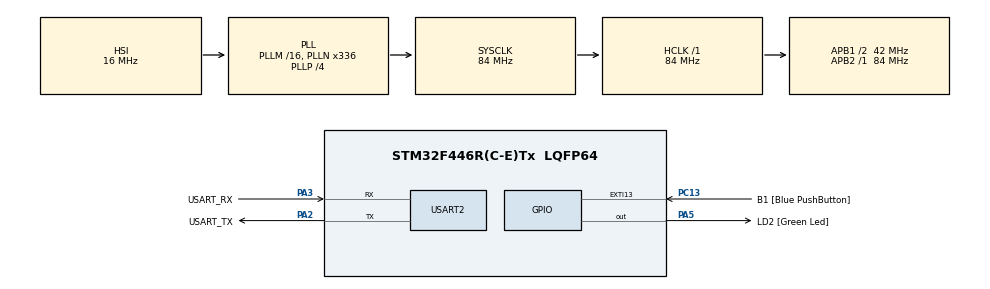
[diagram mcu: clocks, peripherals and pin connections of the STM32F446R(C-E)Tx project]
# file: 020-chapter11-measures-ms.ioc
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Mcu.Family=STM32F4
Mcu.Name=STM32F446R(C-E)Tx
Mcu.Package=LQFP64
NVIC.PriorityGroup=NVIC_PRIORITYGROUP_0
PA13.GPIO_Label=TMS
PA13.Mode=Serial_Wire
PA13.Signal=SYS_JTMS-SWDIO
PA14.GPIO_Label=TCK
PA14.Mode=Serial_Wire
PA14.Signal=SYS_JTCK-SWCLK
PA2.GPIO_Label=USART_TX
PA2.Mode=Asynchronous
PA2.Signal=USART2_TX
PA3.GPIO_Label=USART_RX
PA3.Mode=Asynchronous
PA3.Signal=USART2_RX
PA5.GPIO_Label=LD2 [Green Led]
PA5.Signal=GPIO_Output
PB3.GPIO_Label=SWO
PB3.Signal=SYS_JTDO-SWO
PC13.GPIO_Label=B1 [Blue PushButton]
PC13.GPIO_ModeDefaultEXTI=GPIO_MODE_IT_FALLING
PC13.Signal=GPXTI13
PC14-OSC32_IN.Mode=LSE-External-Oscillator
PC14-OSC32_IN.Signal=RCC_OSC32_IN
PC15-OSC32_OUT.Mode=LSE-External-Oscillator
PC15-OSC32_OUT.Signal=RCC_OSC32_OUT
PH0-OSC_IN.Mode=HSE-External-Oscillator
PH0-OSC_IN.Signal=RCC_OSC_IN
PH1-OSC_OUT.Mode=HSE-External-Oscillator
PH1-OSC_OUT.Signal=RCC_OSC_OUT
ProjectManager.HeapSize=0x200
ProjectManager.StackSize=0x400
ProjectManager.TargetToolchain=STM32CubeIDE
RCC.48MHZClocksFreq_Value=84000000
RCC.AHBFreq_Value=84000000
RCC.APB1CLKDivider=RCC_HCLK_DIV2
RCC.APB1Freq_Value=42000000
RCC.APB1TimFreq_Value=84000000
RCC.APB2Freq_Value=84000000
RCC.APB2TimFreq_Value=84000000
RCC.CortexFreq_Value=84000000
RCC.FLatency-AdvancedSettings=FLASH_LATENCY_2
RCC.HCLKFreq_Value=84000000
RCC.HSE_VALUE=8000000
RCC.HSI_VALUE=16000000
RCC.PLLN=336
RCC.PLLP=RCC_PLLP_DIV4
RCC.SYSCLKFreq_VALUE=84000000
RCC.SYSCLKSource=RCC_SYSCLKSOURCE_PLLCLK
RCC.USBFreq_Value=168000000
RCC.VCOOutputFreq_Value=336000000
USART2.VirtualMode=VM_ASYNC
board=NUCLEO-F446RE

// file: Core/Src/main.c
/* USER CODE BEGIN Header */
/**
 ******************************************************************************
 * @file           : main.c
 * @brief          : Precisely Measure Microseconds
 ******************************************************************************
 * @attention
 *
 * Copyright (c) 2023 STMicroelectronics.
 * All rights reserved.
 *
 * This software is licensed under terms that can be found in the LICENSE file
 * in the root directory of this software component.
 * If no LICENSE file comes with this software, it is provided AS-IS.
 *
 ******************************************************************************
 */
/* USER CODE END Header */
#include "main.h"

/* USER CODE BEGIN PD */
/**
 * this macro has to be rearranged if your processor speed
 * is lower, and keep in mind that being a macro,
 * it is “expanded” every time you use it,
 * causing the increase of firmware size.
 */
#define delayUS_ASM(us)                 \
  do                                    \
  {                                     \
    asm volatile("MOV R0,%[loops]\n     \
		1: \n                           \
		SUB R0, #1\n                    \
		CMP R0, #0\n                    \
		BNE 1b \t"                      \
                 :                      \
                 : [loops] "r"(16 * us) \
                 : "memory");           \
  } while (0)
/* USER CODE END PD */

UART_HandleTypeDef huart2;

void SystemClock_Config(void);
static void MX_GPIO_Init(void);
static void MX_USART2_UART_Init(void);
/* USER CODE BEGIN PFP */
#pragma GCC push_options
#pragma GCC optimize("O0")
void delayUS(uint32_t us);
#pragma GCC pop_options

#pragma GCC push_options
#pragma GCC optimize("O3")
void delayUS_DWT(uint32_t us);
#pragma GCC pop_options
/* USER CODE END PFP */

int main(void)
{

  /* MCU Configuration--------------------------------------------------------*/

  /* Reset of all peripherals, Initializes the Flash interface and the Systick. */
  HAL_Init();

  /* Configure the system clock */
  SystemClock_Config();

  /* Initialize all configured peripherals */
  MX_GPIO_Init();
  MX_USART2_UART_Init();

  /* Infinite loop */
  while (1)
  {

    /* USER CODE BEGIN 3 */
    /**
     * delayUS(1);
       GPIOA->ODR = 0x0;
       delayUS(1);
       GPIOA->ODR = 0x20;
     */
    delayUS_DWT(1);
    GPIOA->ODR = 0x0;
    delayUS_DWT(1);
    GPIOA->ODR = 0x20;
  }
  /* USER CODE END 3 */
}

void SystemClock_Config(void)
{
  RCC_OscInitTypeDef RCC_OscInitStruct = {0};
  RCC_ClkInitTypeDef RCC_ClkInitStruct = {0};

  /** Configure the main internal regulator output voltage
   */
  __HAL_RCC_PWR_CLK_ENABLE();
  __HAL_PWR_VOLTAGESCALING_CONFIG(PWR_REGULATOR_VOLTAGE_SCALE3);

  /** Initializes the RCC Oscillators according to the specified parameters
   * in the RCC_OscInitTypeDef structure.
   */
  RCC_OscInitStruct.OscillatorType = RCC_OSCILLATORTYPE_HSI;
  RCC_OscInitStruct.HSIState = RCC_HSI_ON;
  RCC_OscInitStruct.HSICalibrationValue = RCC_HSICALIBRATION_DEFAULT;
  RCC_OscInitStruct.PLL.PLLState = RCC_PLL_ON;
  RCC_OscInitStruct.PLL.PLLSource = RCC_PLLSOURCE_HSI;
  RCC_OscInitStruct.PLL.PLLM = 16;
  RCC_OscInitStruct.PLL.PLLN = 336;
  RCC_OscInitStruct.PLL.PLLP = RCC_PLLP_DIV4;
  RCC_OscInitStruct.PLL.PLLQ = 2;
  RCC_OscInitStruct.PLL.PLLR = 2;
  if (HAL_RCC_OscConfig(&RCC_OscInitStruct) != HAL_OK)
  {
    Error_Handler();
  }

  /** Initializes the CPU, AHB and APB buses clocks
   */
  RCC_ClkInitStruct.ClockType = RCC_CLOCKTYPE_HCLK | RCC_CLOCKTYPE_SYSCLK | RCC_CLOCKTYPE_PCLK1 | RCC_CLOCKTYPE_PCLK2;
  RCC_ClkInitStruct.SYSCLKSource = RCC_SYSCLKSOURCE_PLLCLK;
  RCC_ClkInitStruct.AHBCLKDivider = RCC_SYSCLK_DIV1;
  RCC_ClkInitStruct.APB1CLKDivider = RCC_HCLK_DIV2;
  RCC_ClkInitStruct.APB2CLKDivider = RCC_HCLK_DIV1;

  if (HAL_RCC_ClockConfig(&RCC_ClkInitStruct, FLASH_LATENCY_2) != HAL_OK)
  {
    Error_Handler();
  }
}

static void MX_USART2_UART_Init(void)
{

  huart2.Instance = USART2;
  huart2.Init.BaudRate = 115200;
  huart2.Init.WordLength = UART_WORDLENGTH_8B;
  huart2.Init.StopBits = UART_STOPBITS_1;
  huart2.Init.Parity = UART_PARITY_NONE;
  huart2.Init.Mode = UART_MODE_TX_RX;
  huart2.Init.HwFlowCtl = UART_HWCONTROL_NONE;
  huart2.Init.OverSampling = UART_OVERSAMPLING_16;
  if (HAL_UART_Init(&huart2) != HAL_OK)
  {
    Error_Handler();
  }
}

static void MX_GPIO_Init(void)
{
  GPIO_InitTypeDef GPIO_InitStruct = {0};

  /* GPIO Ports Clock Enable */
  __HAL_RCC_GPIOC_CLK_ENABLE();
  __HAL_RCC_GPIOH_CLK_ENABLE();
  __HAL_RCC_GPIOA_CLK_ENABLE();
  __HAL_RCC_GPIOB_CLK_ENABLE();

  /*Configure GPIO pin Output Level */
  HAL_GPIO_WritePin(LD2_GPIO_Port, LD2_Pin, GPIO_PIN_RESET);

  /*Configure GPIO pin : B1_Pin */
  GPIO_InitStruct.Pin = B1_Pin;
  GPIO_InitStruct.Mode = GPIO_MODE_IT_FALLING;
  GPIO_InitStruct.Pull = GPIO_NOPULL;
  HAL_GPIO_Init(B1_GPIO_Port, &GPIO_InitStruct);

  /*Configure GPIO pin : LD2_Pin */
  GPIO_InitStruct.Pin = LD2_Pin;
  GPIO_InitStruct.Mode = GPIO_MODE_OUTPUT_PP;
  GPIO_InitStruct.Pull = GPIO_NOPULL;
  GPIO_InitStruct.Speed = GPIO_SPEED_FREQ_LOW;
  HAL_GPIO_Init(LD2_GPIO_Port, &GPIO_InitStruct);
}

/* USER CODE BEGIN 4 */
void delayUS(uint32_t us)
{
  volatile uint32_t counter = 7 * us;
  while (counter--)
    ;
}

void delayUS_DWT(uint32_t us)
{
  volatile uint32_t cycles = (SystemCoreClock / 1000000L) * us;
  /* DWT struct is defined inside the core_cm4.h file */
  volatile uint32_t start = DWT->CYCCNT;
  do
  {
  } while (DWT->CYCCNT - start < cycles);
}
/* USER CODE END 4 */

void Error_Handler(void)
{
  __disable_irq();
  while (1)
  {
  }
}
